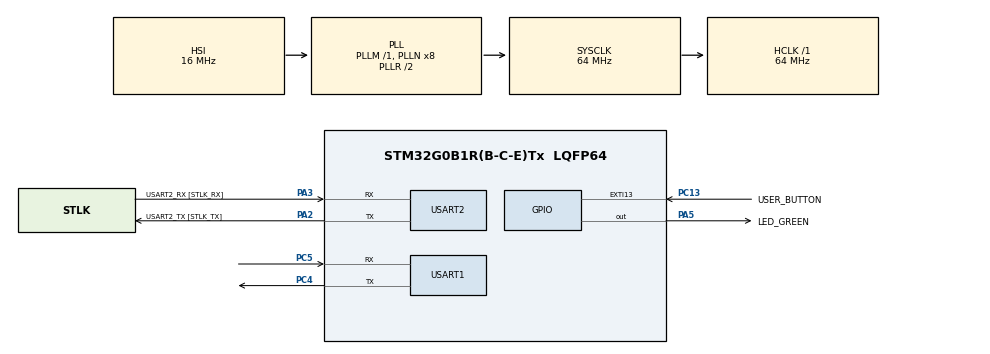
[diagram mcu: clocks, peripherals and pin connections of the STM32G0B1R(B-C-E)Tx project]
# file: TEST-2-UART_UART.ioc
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Mcu.Family=STM32G0
Mcu.Name=STM32G0B1R(B-C-E)Tx
Mcu.Package=LQFP64
NVIC.USART1_IRQn=true\:0\:0\:false\:false\:true\:true\:true\:true
NVIC.USART2_LPUART2_IRQn=true\:0\:0\:false\:false\:true\:true\:true\:true
PA13.GPIO_Label=TMS
PA13.Mode=Serial_Wire
PA13.Signal=SYS_SWDIO
PA14-BOOT0.GPIO_Label=TCK
PA14-BOOT0.Mode=Serial_Wire
PA14-BOOT0.Signal=SYS_SWCLK
PA2.GPIO_Label=USART2_TX [STLK_TX]
PA2.Mode=Asynchronous
PA2.Signal=USART2_TX
PA3.GPIO_Label=USART2_RX [STLK_RX]
PA3.Mode=Asynchronous
PA3.Signal=USART2_RX
PA5.GPIO_Label=LED_GREEN
PA5.GPIO_Speed=GPIO_SPEED_FREQ_HIGH
PA5.Signal=GPIO_Output
PC13.GPIO_Label=USER_BUTTON
PC13.Signal=GPXTI13
PC14-OSC32_IN\ (PC14).Mode=LSE-External-Oscillator
PC14-OSC32_IN\ (PC14).Signal=RCC_OSC32_IN
PC15-OSC32_OUT\ (PC15).Mode=LSE-External-Oscillator
PC15-OSC32_OUT\ (PC15).Signal=RCC_OSC32_OUT
PC4.Mode=Asynchronous
PC4.Signal=USART1_TX
PC5.Mode=Asynchronous
PC5.Signal=USART1_RX
PF0-OSC_IN\ (PF0).GPIO_Label=MCO
PF0-OSC_IN\ (PF0).Mode=HSE-External-Clock-Source
PF0-OSC_IN\ (PF0).Signal=RCC_OSC_IN
ProjectManager.HeapSize=0x200
ProjectManager.StackSize=0x400
ProjectManager.TargetToolchain=STM32CubeIDE
RCC.ADCFreq_Value=64000000
RCC.AHBFreq_Value=64000000
RCC.CortexFreq_Value=64000000
RCC.EXTERNAL_CLOCK_VALUE=12288000
RCC.HCLKFreq_Value=64000000
RCC.HSE_VALUE=8000000
RCC.HSI48_VALUE=48000000
RCC.HSI_VALUE=16000000
RCC.SYSCLKFreq_VALUE=64000000
RCC.SYSCLKSource=RCC_SYSCLKSOURCE_PLLCLK
RCC.USBFreq_Value=48000000
RCC.VCOOutputFreq_Value=128000000
USART1.VirtualMode-Asynchronous=VM_ASYNC
USART2.VirtualMode-Asynchronous=VM_ASYNC
VP_SYS_VS_DBSignals.Mode=DisableDeadBatterySignals
board=NUCLEO-G0B1RE

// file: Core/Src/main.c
/* USER CODE BEGIN Header */
/**
  ******************************************************************************
  * @file           : main.c
  * @brief          : Main program body
  ******************************************************************************
  * @attention
  *
  * Copyright (c) 2025 STMicroelectronics.
  * All rights reserved.
  *
  * This software is licensed under terms that can be found in the LICENSE file
  * in the root directory of this software component.
  * If no LICENSE file comes with this software, it is provided AS-IS.
  *
  ******************************************************************************
  */
/* USER CODE END Header */
#include "main.h"
#include "usart.h"
#include "gpio.h"

/* USER CODE BEGIN PV */
uint8_t tx1_buff[]="hello world\n";
uint8_t rx1_buff[4]={0};
uint8_t tx2_buff[]="hello world\n";
uint8_t rx2_buff[4]={0};
/* USER CODE END PV */

void SystemClock_Config(void);

/* USER CODE BEGIN 0 */
void HAL_UART_RxCpltCallback(UART_HandleTypeDef *huart)
{
	if(huart->Instance==USART1)
	{
		//answer to host
		HAL_UART_Transmit_IT(&huart1,tx1_buff,sizeof(tx1_buff));
		// reset receive int
		HAL_UART_Receive_IT(&huart1,rx1_buff,sizeof(rx1_buff));
	}

	if(huart->Instance==USART2)
	{
		//answer to host
		HAL_UART_Transmit_IT(&huart2,tx2_buff,sizeof(tx2_buff));
		// reset receive int
		HAL_UART_Receive_IT(&huart2,rx2_buff,sizeof(rx2_buff));
	}
}
/* USER CODE END 0 */

int main(void)
{

  /* MCU Configuration--------------------------------------------------------*/

  /* Reset of all peripherals, Initializes the Flash interface and the Systick. */
  HAL_Init();

  /* Configure the system clock */
  SystemClock_Config();

  /* Initialize all configured peripherals */
  MX_GPIO_Init();
  MX_USART2_UART_Init();
  MX_USART1_UART_Init();
  /* USER CODE BEGIN 2 */
  HAL_UART_Receive_IT(&huart1,rx1_buff,sizeof(rx1_buff));//receive int enable
  HAL_UART_Receive_IT(&huart2,rx2_buff,sizeof(rx2_buff));//receive int enable
  /* USER CODE END 2 */

  /* Infinite loop */
  while (1)
  {

    /* USER CODE BEGIN 3 */
	  HAL_GPIO_TogglePin(LED_GREEN_GPIO_Port,LED_GREEN_Pin);//LED-Green flash
	  HAL_Delay(1000);//delay 1000 ms
  }
  /* USER CODE END 3 */
}

void SystemClock_Config(void)
{
  RCC_OscInitTypeDef RCC_OscInitStruct = {0};
  RCC_ClkInitTypeDef RCC_ClkInitStruct = {0};

  /** Configure the main internal regulator output voltage
  */
  HAL_PWREx_ControlVoltageScaling(PWR_REGULATOR_VOLTAGE_SCALE1);

  /** Initializes the RCC Oscillators according to the specified parameters
  * in the RCC_OscInitTypeDef structure.
  */
  RCC_OscInitStruct.OscillatorType = RCC_OSCILLATORTYPE_HSI;
  RCC_OscInitStruct.HSIState = RCC_HSI_ON;
  RCC_OscInitStruct.HSIDiv = RCC_HSI_DIV1;
  RCC_OscInitStruct.HSICalibrationValue = RCC_HSICALIBRATION_DEFAULT;
  RCC_OscInitStruct.PLL.PLLState = RCC_PLL_ON;
  RCC_OscInitStruct.PLL.PLLSource = RCC_PLLSOURCE_HSI;
  RCC_OscInitStruct.PLL.PLLM = RCC_PLLM_DIV1;
  RCC_OscInitStruct.PLL.PLLN = 8;
  RCC_OscInitStruct.PLL.PLLP = RCC_PLLP_DIV2;
  RCC_OscInitStruct.PLL.PLLQ = RCC_PLLQ_DIV2;
  RCC_OscInitStruct.PLL.PLLR = RCC_PLLR_DIV2;
  if (HAL_RCC_OscConfig(&RCC_OscInitStruct) != HAL_OK)
  {
    Error_Handler();
  }

  /** Initializes the CPU, AHB and APB buses clocks
  */
  RCC_ClkInitStruct.ClockType = RCC_CLOCKTYPE_HCLK|RCC_CLOCKTYPE_SYSCLK
                              |RCC_CLOCKTYPE_PCLK1;
  RCC_ClkInitStruct.SYSCLKSource = RCC_SYSCLKSOURCE_PLLCLK;
  RCC_ClkInitStruct.AHBCLKDivider = RCC_SYSCLK_DIV1;
  RCC_ClkInitStruct.APB1CLKDivider = RCC_HCLK_DIV1;

  if (HAL_RCC_ClockConfig(&RCC_ClkInitStruct, FLASH_LATENCY_2) != HAL_OK)
  {
    Error_Handler();
  }
}

void Error_Handler(void)
{
  __disable_irq();
  while (1)
  {
  }
}
